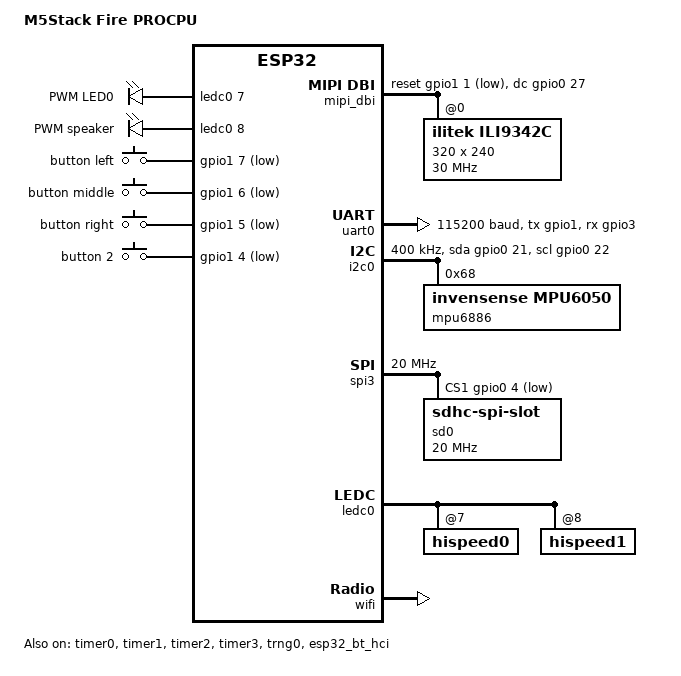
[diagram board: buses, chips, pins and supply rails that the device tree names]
/*
 * Copyright (c) 2023 Martin Kiepfer <mrmarteng@teleschirm.org>
 * Copyright (c) 2025 Jakub Novák <jakubnovak.cz@outlook.cz>
 *
 * SPDX-License-Identifier: Apache-2.0
 */
/dts-v1/;

#include <espressif/esp32/esp32_d0wd_v3.dtsi>
#include "m5stack_fire-pinctrl.dtsi"
#include "grove_connectors.dtsi"
#include "m5stack_mbus_connectors.dtsi"
#include <zephyr/dt-bindings/display/ili9xxx.h>
#include <espressif/partitions_0x1000_amp.dtsi>
#include <zephyr/dt-bindings/input/input-event-codes.h>

/ {
	model = "M5Stack Fire PROCPU";
	compatible = "m5stack,fire";

	aliases {
		uart-0 = &uart0;
		i2c-0 = &i2c0;
		watchdog0 = &wdt0;
		accel0 = &mpu6886;
		sw0 = &button0;
		pwm0 = &ledc0;
		lcd-bg = &lcd_bg;
	};

	chosen {
		zephyr,sram = &sram1;
		zephyr,console = &uart0;
		zephyr,shell-uart = &uart0;
		zephyr,flash = &flash0;
		zephyr,display = &ili9342c;
		zephyr,code-partition = &slot0_partition;
		zephyr,bt-hci = &esp32_bt_hci;
	};

	pwm {
		compatible = "pwm-leds";

		lcd_bg: lcd_bg {
			label = "PWM LED0";
			/* The cycle duration is taken from the ILI9342c spec section 8.3.15 */
			pwms = <&ledc0 7 PWM_KHZ(16000 / 256) PWM_POLARITY_NORMAL>;
		};

		speaker: speaker {
			label = "PWM speaker";
			pwms = <&ledc0 8 1000 PWM_POLARITY_NORMAL>;
		};
	};

	buttons {
		compatible = "gpio-keys";

		button0: button_0 {
			gpios = <&gpio1 7 GPIO_ACTIVE_LOW>;
			label = "button left";
			zephyr,code = <INPUT_KEY_0>;
		};

		button1: button_1 {
			gpios = <&gpio1 6 GPIO_ACTIVE_LOW>;
			label = "button middle";
			zephyr,code = <INPUT_KEY_1>;
		};

		button2: button_2 {
			gpios = <&gpio1 5 GPIO_ACTIVE_LOW>;
			label = "button right";
			zephyr,code = <INPUT_KEY_2>;
		};

		button3: button_3 {
			gpios = <&gpio1 4 GPIO_ACTIVE_LOW>;
			label = "button 2";
			zephyr,code = <INPUT_KEY_3>;
		};
	};

	mipi_dbi {
		compatible = "zephyr,mipi-dbi-spi";
		dc-gpios = <&gpio0 27 GPIO_ACTIVE_HIGH>;
		reset-gpios = <&gpio1 1 (GPIO_OPEN_DRAIN | GPIO_ACTIVE_LOW)>;
		spi-dev = <&spi3>;
		write-only;
		#address-cells = <1>;
		#size-cells = <0>;

		ili9342c: ili9342c@0 {
			status = "okay";
			compatible = "ilitek,ili9342c";
			mipi-max-frequency = <30000000>;
			reg = <0>;
			pixel-format = <ILI9XXX_PIXEL_FORMAT_RGB565>;
			display-inversion;
			width = <320>;
			height = <240>;
			rotation = <0>;
		};
	};
};

&flash0 {
	reg = <0x0 DT_SIZE_M(16)>;
};

&psram0 {
	size = <DT_SIZE_M(8)>;
};

&uart0 {
	status = "okay";
	current-speed = <115200>;
	pinctrl-0 = <&uart0_tx_gpio1 &uart0_rx_gpio3>;
	pinctrl-names = "default";
};

&uart1 {
	status = "disabled";
	current-speed = <115200>;
	pinctrl-0 = <&uart1_rx_gpio33 &uart1_tx_gpio32>;
	pinctrl-names = "default";
};

&gpio0 {
	status = "okay";
};

&gpio1 {
	status = "okay";
};

&i2c0 {
	status = "okay";
	clock-frequency = <I2C_BITRATE_FAST>;
	sda-gpios = <&gpio0 21 GPIO_OPEN_DRAIN>;
	scl-gpios = <&gpio0 22 GPIO_OPEN_DRAIN>;
	pinctrl-0 = <&i2c0_default>;
	scl-timeout-us = <0>;
	pinctrl-names = "default";

	mpu6886: mpu6886@68 {
		status = "okay";
		compatible = "invensense,mpu6050";
		reg = <0x68>;
	};
};

&spi3 {
	status = "okay";
	#address-cells = <1>;
	#size-cells = <0>;
	pinctrl-0 = <&spim3_default>;
	pinctrl-names = "default";
	dma-enabled;
	clock-frequency = <20000000>;
	cs-gpios = <&gpio0 14 GPIO_ACTIVE_LOW>, <&gpio0 4 GPIO_ACTIVE_LOW>;

	sd0: sd@1 {
		status = "okay";
		compatible = "zephyr,sdhc-spi-slot";
		reg = <1>;
		spi-max-frequency = <20000000>;

		mmc {
			status = "okay";
			compatible = "zephyr,sdmmc-disk";
			disk-name = "SD";
		};
	};
};

&ledc0 {
	pinctrl-0 = <&ledc0_default>;
	pinctrl-names = "default";
	status = "okay";
	#address-cells = <1>;
	#size-cells = <0>;

	hispeed0@7 {
		reg = <0x7>;
		timer = <0>;
	};

	hispeed1@8 {
		reg = <0x8>;
		timer = <0>;
	};
};

&timer0 {
	status = "okay";
};

&timer1 {
	status = "okay";
};

&timer2 {
	status = "okay";
};

&timer3 {
	status = "okay";
};

&trng0 {
	status = "okay";
};

&esp32_bt_hci {
	status = "okay";
};

&wifi {
	status = "okay";
};
